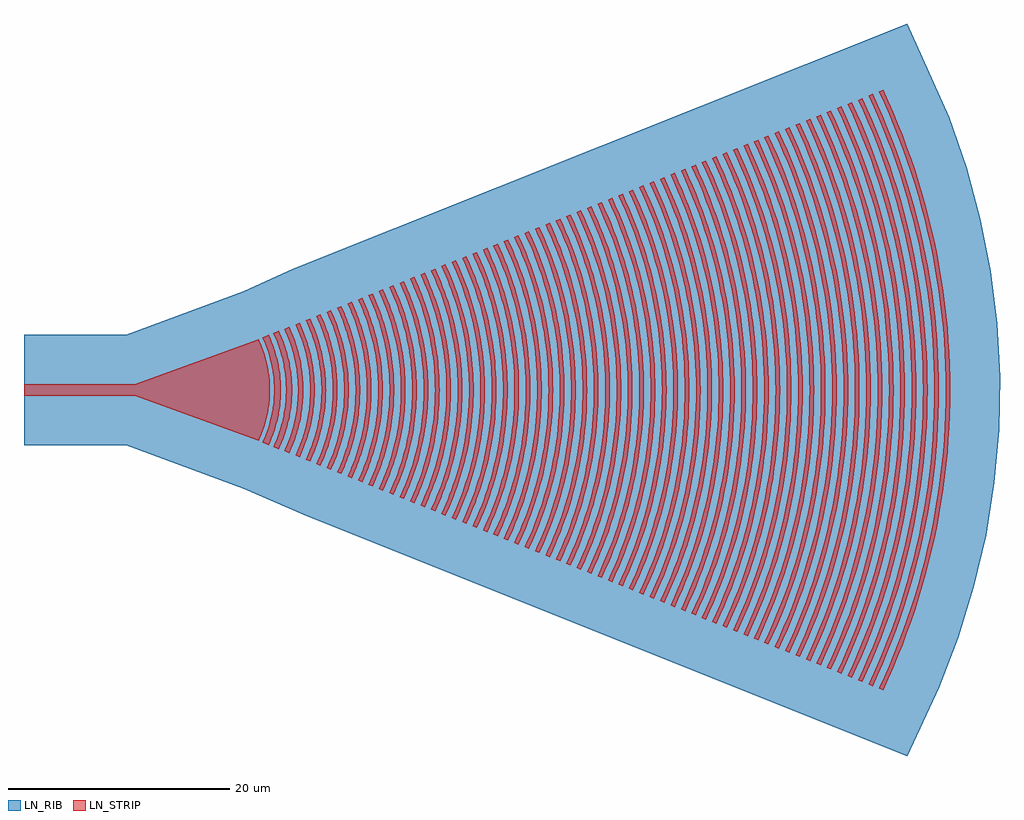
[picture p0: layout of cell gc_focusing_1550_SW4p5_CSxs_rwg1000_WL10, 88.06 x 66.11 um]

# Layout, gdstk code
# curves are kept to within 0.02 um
import gdstk
lib = gdstk.Library(unit=1e-6, precision=1e-09)
def P(c, l, *ps):  # polygons
    for p in ps: c.add(gdstk.Polygon(p, *l))
LN_STRIP = (2, 0)
LN_RIB = (3, 0)

gc_focusing_1550_sw4p5_c = lib.new_cell('gc_focusing_1550_SW4p5_CSxs_rwg1000_WL10')
P(gc_focusing_1550_sw4p5_c, LN_STRIP, [(11.472,-4.596),(0.307,-0.5),(-9.693,-0.5),(-9.693,0.5),(0.307,0.5),(11.472,4.596),(11.902,3.541),(12.219,2.447),(12.44,1.137),(12.5,0),(12.44,-1.137),(12.219,-2.447),(11.902,-3.541)],
  [(12.38,-4.977),(11.822,-4.721),(12.2,-3.818),(12.544,-2.701),(12.74,-1.747),(12.852,-0.779),(12.879,0),(12.863,0.584),(12.818,1.167),(12.708,1.938),(12.59,2.511),(12.387,3.264),(12.131,4.001),(11.822,4.721),(12.38,4.977),(12.845,3.835),(13.188,2.651),(13.405,1.436),(13.477,0.616),(13.493,0),(13.477,-0.616),(13.405,-1.436),(13.188,-2.651),(12.845,-3.835)],
  [(13.302,-5.339),(12.806,-5.113),(13.285,-3.936),(13.637,-2.72),(13.8,-1.89),(13.884,-1.264),(13.95,0),(13.884,1.264),(13.8,1.89),(13.637,2.72),(13.285,3.936),(12.806,5.113),(13.302,5.339),(13.801,4.116),(14.169,2.844),(14.401,1.541),(14.479,0.661),(14.496,0),(14.479,-0.661),(14.401,-1.541),(14.169,-2.844),(13.801,-4.116)],
  [(14.233,-5.7),(13.799,-5.5),(14.316,-4.236),(14.523,-3.586),(14.745,-2.705),(14.96,-1.36),(15.031,0),(14.96,1.36),(14.745,2.705),(14.523,3.586),(14.316,4.236),(13.799,5.5),(14.233,5.7),(14.517,5.054),(14.842,4.17),(15.211,2.805),(15.434,1.41),(15.509,0),(15.434,-1.41),(15.211,-2.805),(14.842,-4.17),(14.517,-5.054)],
  [(15.174,-6.07),(14.806,-5.9),(15.36,-4.545),(15.767,-3.14),(15.914,-2.424),(16.051,-1.459),(16.128,0),(16.051,1.459),(15.914,2.424),(15.767,3.14),(15.36,4.545),(14.806,5.9),(15.174,6.07),(15.742,4.677),(16.038,3.718),(16.216,2.987),(16.453,1.501),(16.534,0),(16.453,-1.501),(16.216,-2.987),(16.038,-3.718),(15.742,-4.677)],
  [(16.114,-6.445),(15.746,-6.275),(16.061,-5.561),(16.335,-4.834),(16.571,-4.092),(16.768,-3.339),(16.925,-2.578),(17.07,-1.551),(17.132,-0.777),(17.152,0),(17.132,0.777),(17.07,1.551),(16.925,2.578),(16.768,3.339),(16.571,4.092),(16.335,4.834),(16.061,5.561),(15.746,6.275),(16.114,6.445),(16.435,5.715),(16.717,4.966),(16.961,4.204),(17.162,3.431),(17.323,2.648),(17.442,1.859),(17.536,0.799),(17.558,0),(17.536,-0.799),(17.442,-1.859),(17.323,-2.648),(17.162,-3.431),(16.961,-4.204),(16.717,-4.966),(16.435,-5.715)],
  [(17.054,-6.821),(16.686,-6.651),(17.018,-5.894),(17.31,-5.122),(17.56,-4.337),(17.769,-3.539),(17.935,-2.733),(18.089,-1.645),(18.154,-0.823),(18.176,0),(18.154,0.823),(18.089,1.645),(17.935,2.733),(17.769,3.539),(17.56,4.337),(17.31,5.122),(17.018,5.894),(16.686,6.651),(17.054,6.821),(17.498,5.785),(17.783,4.988),(18.026,4.178),(18.225,3.357),(18.38,2.525),(18.491,1.687),(18.558,0.845),(18.582,0),(18.558,-0.845),(18.491,-1.687),(18.38,-2.525),(18.225,-3.357),(18.026,-4.178),(17.783,-4.988),(17.498,-5.785)],
  [(17.994,-7.196),(17.626,-7.026),(17.978,-6.226),(18.286,-5.412),(18.549,-4.582),(18.77,-3.739),(18.945,-2.886),(19.075,-2.026),(19.177,-0.87),(19.2,0),(19.177,0.87),(19.075,2.026),(18.945,2.886),(18.77,3.739),(18.549,4.582),(18.286,5.412),(17.978,6.226),(17.626,7.026),(17.994,7.196),(18.352,6.38),(18.668,5.544),(18.939,4.694),(19.164,3.831),(19.343,2.958),(19.477,2.076),(19.563,1.188),(19.606,0),(19.563,-1.188),(19.477,-2.076),(19.343,-2.958),(19.164,-3.831),(18.939,-4.694),(18.668,-5.544),(18.352,-6.38)],
  [(18.934,-7.571),(18.566,-7.401),(18.937,-6.559),(19.261,-5.7),(19.538,-4.827),(19.771,-3.939),(19.956,-3.041),(20.127,-1.831),(20.2,-0.916),(20.224,0),(20.2,0.916),(20.127,1.831),(19.956,3.041),(19.771,3.939),(19.538,4.827),(19.261,5.7),(18.937,6.559),(18.566,7.401),(18.934,7.571),(19.311,6.713),(19.643,5.834),(19.928,4.939),(20.165,4.031),(20.354,3.111),(20.494,2.184),(20.585,1.25),(20.63,0),(20.585,-1.25),(20.494,-2.184),(20.354,-3.111),(20.165,-4.031),(19.928,-4.939),(19.643,-5.834),(19.311,-6.713)],
  [(19.874,-7.946),(19.506,-7.776),(19.894,-6.892),(20.236,-5.989),(20.528,-5.071),(20.772,-4.138),(20.966,-3.194),(21.147,-1.922),(21.223,-0.963),(21.247,0),(21.223,0.963),(21.147,1.922),(20.966,3.194),(20.772,4.138),(20.528,5.071),(20.236,5.989),(19.894,6.892),(19.506,7.776),(19.874,7.946),(20.27,7.044),(20.618,6.123),(20.918,5.183),(21.238,3.909),(21.419,2.942),(21.549,1.966),(21.627,0.985),(21.653,0),(21.627,-0.985),(21.549,-1.966),(21.419,-2.942),(21.238,-3.909),(20.918,-5.183),(20.618,-6.123),(20.27,-7.044)],
  [(20.814,-8.321),(20.446,-8.153),(20.854,-7.224),(21.211,-6.278),(21.518,-5.316),(21.773,-4.338),(21.976,-3.349),(22.166,-2.016),(22.246,-1.009),(22.272,0),(22.246,1.009),(22.166,2.016),(21.976,3.349),(21.773,4.338),(21.518,5.316),(21.211,6.278),(20.854,7.224),(20.446,8.153),(20.814,8.321),(21.228,7.378),(21.593,6.412),(21.906,5.428),(22.167,4.43),(22.374,3.419),(22.529,2.4),(22.629,1.374),(22.678,0),(22.629,-1.374),(22.529,-2.4),(22.374,-3.419),(22.167,-4.43),(21.906,-5.428),(21.593,-6.412),(21.228,-7.378)],
  [(21.754,-8.697),(21.386,-8.527),(21.813,-7.557),(22.299,-6.234),(22.602,-5.221),(22.851,-4.195),(23.045,-3.156),(23.185,-2.109),(23.268,-1.055),(23.296,0),(23.268,1.055),(23.185,2.109),(23.045,3.156),(22.851,4.195),(22.602,5.221),(22.299,6.234),(21.813,7.557),(21.386,8.527),(21.754,8.697),(22.187,7.711),(22.568,6.701),(22.896,5.673),(23.247,4.279),(23.445,3.22),(23.587,2.151),(23.672,1.077),(23.702,0),(23.672,-1.077),(23.587,-2.151),(23.445,-3.22),(23.247,-4.279),(22.896,-5.673),(22.568,-6.701),(22.187,-7.711)],
  [(22.694,-9.072),(22.326,-8.902),(22.771,-7.889),(23.161,-6.857),(23.496,-5.806),(23.775,-4.738),(23.997,-3.658),(24.204,-2.201),(24.291,-1.102),(24.32,0),(24.291,1.102),(24.204,2.201),(23.997,3.658),(23.775,4.738),(23.496,5.806),(23.161,6.857),(22.771,7.889),(22.326,8.902),(22.694,9.072),(23.285,7.694),(23.663,6.634),(23.986,5.557),(24.251,4.464),(24.458,3.359),(24.606,2.245),(24.695,1.124),(24.726,0),(24.695,-1.124),(24.606,-2.245),(24.458,-3.359),(24.251,-4.464),(23.986,-5.557),(23.663,-6.634),(23.285,-7.694)],
  [(23.634,-9.448),(23.266,-9.278),(23.729,-8.223),(24.136,-7.147),(24.485,-6.05),(24.776,-4.937),(25.008,-3.811),(25.223,-2.295),(25.314,-1.148),(25.344,0),(25.314,1.148),(25.223,2.295),(25.008,3.811),(24.776,4.937),(24.485,6.05),(24.136,7.147),(23.729,8.223),(23.266,9.278),(23.634,9.448),(24.105,8.375),(24.518,7.279),(24.875,6.162),(25.17,5.029),(25.406,3.883),(25.581,2.725),(25.694,1.559),(25.75,0),(25.694,-1.559),(25.581,-2.725),(25.406,-3.883),(25.17,-5.029),(24.875,-6.162),(24.518,-7.279),(24.105,-8.375)],
  [(24.574,-9.822),(24.206,-9.654),(24.689,-8.555),(25.111,-7.436),(25.474,-6.295),(25.777,-5.137),(26.018,-3.966),(26.242,-2.388),(26.337,-1.195),(26.368,0),(26.337,1.195),(26.242,2.388),(26.018,3.966),(25.777,5.137),(25.474,6.295),(25.111,7.436),(24.689,8.555),(24.206,9.654),(24.574,9.822),(25.063,8.709),(25.493,7.568),(25.864,6.407),(26.26,4.834),(26.484,3.637),(26.644,2.43),(26.741,1.217),(26.774,0),(26.741,-1.217),(26.644,-2.43),(26.484,-3.637),(26.26,-4.834),(25.864,-6.407),(25.493,-7.568),(25.063,-8.709)],
  [(25.514,-10.198),(25.146,-10.028),(25.647,-8.887),(26.087,-7.725),(26.464,-6.54),(26.778,-5.337),(27.097,-3.711),(27.261,-2.479),(27.359,-1.241),(27.392,0),(27.359,1.241),(27.261,2.479),(27.097,3.711),(26.778,5.337),(26.464,6.54),(26.087,7.725),(25.647,8.887),(25.146,10.028),(25.514,10.198),(26.021,9.041),(26.469,7.857),(26.852,6.652),(27.172,5.429),(27.426,4.191),(27.615,2.941),(27.738,1.683),(27.798,0),(27.738,-1.683),(27.615,-2.941),(27.426,-4.191),(27.172,-5.429),(26.852,-6.652),(26.469,-7.857),(26.021,-9.041)],
  [(26.454,-10.573),(26.086,-10.403),(26.605,-9.221),(27.2,-7.606),(27.678,-5.954),(28.039,-4.274),(28.175,-3.425),(28.321,-2.145),(28.382,-1.288),(28.416,0),(28.401,0.859),(28.321,2.145),(28.175,3.425),(28.039,4.274),(27.678,5.954),(27.2,7.606),(26.605,9.221),(26.086,10.403),(26.454,10.573),(26.981,9.373),(27.444,8.147),(27.842,6.897),(28.269,5.202),(28.51,3.914),(28.682,2.615),(28.786,1.31),(28.822,0),(28.786,-1.31),(28.682,-2.615),(28.51,-3.914),(28.269,-5.202),(27.842,-6.897),(27.444,-8.147),(26.981,-9.373)],
  [(27.394,-10.949),(27.026,-10.779),(27.565,-9.552),(28.18,-7.88),(28.675,-6.17),(29.049,-4.428),(29.19,-3.55),(29.342,-2.222),(29.425,-0.89),(29.44,0),(29.425,0.89),(29.342,2.222),(29.19,3.55),(29.049,4.428),(28.675,6.17),(28.18,7.88),(27.565,9.552),(27.026,10.779),(27.394,10.949),(27.939,9.706),(28.419,8.435),(28.832,7.141),(29.174,5.829),(29.447,4.5),(29.65,3.158),(29.809,1.356),(29.846,0),(29.809,-1.356),(29.65,-3.158),(29.447,-4.5),(29.174,-5.829),(28.832,-7.141),(28.419,-8.435),(27.939,-9.706)],
  [(28.334,-11.324),(27.966,-11.154),(28.693,-9.457),(29.16,-8.155),(29.673,-6.385),(29.974,-5.035),(30.136,-4.128),(30.318,-2.759),(30.428,-1.381),(30.464,0),(30.428,1.381),(30.318,2.759),(30.136,4.128),(29.974,5.035),(29.673,6.385),(29.16,8.155),(28.693,9.457),(27.966,11.154),(28.334,11.324),(28.898,10.038),(29.394,8.725),(29.821,7.386),(30.175,6.028),(30.457,4.654),(30.667,3.266),(30.832,1.403),(30.87,0),(30.832,-1.403),(30.667,-3.266),(30.457,-4.654),(30.175,-6.028),(29.821,-7.386),(29.394,-8.725),(28.898,-10.038)],
  [(29.274,-11.699),(28.906,-11.529),(29.658,-9.776),(30.14,-8.429),(30.67,-6.599),(31.07,-4.736),(31.283,-3.324),(31.383,-2.377),(31.472,-0.952),(31.488,0),(31.472,0.952),(31.383,2.377),(31.283,3.324),(31.07,4.736),(30.67,6.599),(30.14,8.429),(29.658,9.776),(28.906,11.529),(29.274,11.699),(29.856,10.372),(30.369,9.014),(30.81,7.631),(31.282,5.756),(31.549,4.331),(31.739,2.894),(31.854,1.449),(31.894,0),(31.854,-1.449),(31.739,-2.894),(31.549,-4.331),(31.282,-5.756),(30.81,-7.631),(30.369,-9.014),(29.856,-10.372)],
  [(30.214,-12.074),(29.846,-11.906),(30.441,-10.55),(31.12,-8.704),(31.543,-7.29),(31.989,-5.374),(32.162,-4.406),(32.357,-2.944),(32.473,-1.474),(32.512,0),(32.473,1.474),(32.357,2.944),(32.162,4.406),(31.989,5.374),(31.543,7.29),(31.12,8.704),(30.441,10.55),(29.846,11.906),(30.214,12.074),(30.815,10.704),(31.344,9.303),(31.798,7.876),(32.177,6.428),(32.478,4.962),(32.702,3.482),(32.847,1.993),(32.918,0),(32.847,-1.993),(32.702,-3.482),(32.478,-4.962),(32.177,-6.428),(31.798,-7.876),(31.344,-9.303),(30.815,-10.704)],
  [(31.154,-12.449),(30.786,-12.281),(31.587,-10.412),(32.1,-8.978),(32.665,-7.028),(32.997,-5.544),(33.175,-4.545),(33.376,-3.037),(33.496,-1.52),(33.536,0),(33.496,1.52),(33.376,3.037),(33.175,4.545),(32.997,5.544),(32.665,7.028),(32.1,8.978),(31.587,10.412),(30.786,12.281),(31.154,12.449),(31.965,10.558),(32.484,9.104),(32.926,7.625),(33.291,6.126),(33.575,4.609),(33.778,3.079),(33.9,1.542),(33.942,0),(33.9,-1.542),(33.778,-3.079),(33.575,-4.609),(33.291,-6.126),(32.926,-7.625),(32.484,-9.104),(31.965,-10.558)],
  [(32.093,-12.825),(31.725,-12.655),(32.551,-10.73),(33.08,-9.253),(33.662,-7.244),(34.004,-5.713),(34.188,-4.684),(34.395,-3.13),(34.519,-1.567),(34.56,0),(34.519,1.567),(34.395,3.13),(34.188,4.684),(34.004,5.713),(33.662,7.244),(33.08,9.253),(32.551,10.73),(31.725,12.655),(32.093,12.825),(32.733,11.369),(33.464,9.379),(33.92,7.855),(34.295,6.311),(34.588,4.748),(34.797,3.172),(34.923,1.589),(34.966,0),(34.923,-1.589),(34.797,-3.172),(34.588,-4.748),(34.295,-6.311),(33.92,-7.855),(33.464,-9.379),(32.733,-11.369)],
  [(33.033,-13.2),(32.665,-13.03),(33.316,-11.549),(34.06,-9.527),(34.523,-7.979),(35.012,-5.882),(35.201,-4.823),(35.414,-3.223),(35.542,-1.613),(35.584,0),(35.542,1.613),(35.414,3.223),(35.201,4.823),(35.012,5.882),(34.523,7.979),(34.06,9.527),(33.316,11.549),(32.665,13.03),(33.033,13.2),(33.692,11.701),(34.27,10.171),(34.767,8.61),(35.18,7.027),(35.509,5.425),(35.754,3.807),(35.946,1.635),(35.99,0),(35.946,-1.635),(35.754,-3.807),(35.509,-5.425),(35.18,-7.027),(34.767,-8.61),(34.27,-10.171),(33.692,-11.701)],
  [(33.973,-13.576),(33.605,-13.406),(34.276,-11.881),(35.04,-9.801),(35.657,-7.674),(36.019,-6.052),(36.214,-4.962),(36.433,-3.316),(36.564,-1.66),(36.608,0),(36.564,1.66),(36.433,3.316),(36.214,4.962),(36.019,6.052),(35.657,7.674),(35.04,9.801),(34.276,11.881),(33.605,13.406),(33.973,13.576),(34.65,12.035),(35.245,10.459),(35.756,8.855),(36.304,6.68),(36.614,5.026),(36.835,3.358),(36.968,1.682),(37.014,0),(36.968,-1.682),(36.835,-3.358),(36.614,-5.026),(36.304,-6.68),(35.756,-8.855),(35.245,-10.459),(34.65,-12.035)],
  [(34.913,-13.951),(34.545,-13.781),(35.014,-12.74),(35.444,-11.685),(36.02,-10.076),(36.654,-7.888),(37.027,-6.221),(37.226,-5.101),(37.452,-3.409),(37.587,-1.706),(37.632,0),(37.587,1.706),(37.452,3.409),(37.226,5.101),(37.027,6.221),(36.654,7.888),(36.02,10.076),(35.444,11.685),(35.014,12.74),(34.545,13.781),(34.913,13.951),(35.609,12.367),(36.22,10.748),(36.746,9.1),(37.308,6.865),(37.626,5.165),(37.854,3.451),(37.991,1.728),(38.038,0),(37.991,-1.728),(37.854,-3.451),(37.626,-5.165),(37.308,-6.865),(36.746,-9.1),(36.22,-10.748),(35.609,-12.367)],
  [(35.853,-14.326),(35.485,-14.156),(35.967,-13.087),(36.409,-12.003),(37.001,-10.35),(37.504,-8.669),(37.789,-7.534),(38.034,-6.391),(38.327,-4.661),(38.471,-3.501),(38.61,-1.753),(38.656,0),(38.61,1.753),(38.471,3.501),(38.327,4.661),(38.034,6.391),(37.789,7.534),(37.504,8.669),(37.001,10.35),(36.409,12.003),(35.967,13.087),(35.485,14.156),(35.853,14.326),(36.339,13.247),(36.787,12.149),(37.385,10.476),(37.894,8.775),(38.313,7.049),(38.639,5.303),(38.873,3.543),(39.014,1.775),(39.062,0),(39.014,-1.775),(38.873,-3.543),(38.639,-5.303),(38.313,-7.049),(37.894,-8.775),(37.385,-10.476),(36.787,-12.149),(36.339,-13.247)],
  [(36.793,-14.702),(36.425,-14.532),(37.151,-12.879),(37.586,-11.759),(37.981,-10.625),(38.649,-8.318),(39.042,-6.56),(39.343,-4.784),(39.49,-3.594),(39.633,-1.799),(39.68,0),(39.633,1.799),(39.49,3.594),(39.343,4.784),(39.042,6.56),(38.649,8.318),(37.981,10.625),(37.586,11.759),(37.151,12.879),(36.425,14.532),(36.793,14.702),(37.527,13.033),(37.966,11.899),(38.365,10.751),(38.887,9.004),(39.317,7.234),(39.652,5.442),(39.892,3.636),(40.037,1.821),(40.086,0),(40.037,-1.821),(39.892,-3.636),(39.652,-5.442),(39.317,-7.234),(38.887,-9.004),(38.365,-10.751),(37.966,-11.899),(37.527,-13.033)],
  [(37.733,-15.077),(37.365,-14.907),(38.109,-13.213),(38.555,-12.063),(38.961,-10.899),(39.491,-9.128),(39.791,-7.934),(40.049,-6.73),(40.357,-4.909),(40.509,-3.687),(40.655,-1.846),(40.704,0),(40.655,1.846),(40.509,3.687),(40.357,4.909),(40.049,6.73),(39.791,7.934),(39.491,9.128),(38.961,10.899),(38.555,12.063),(38.109,13.213),(37.365,14.907),(37.733,15.077),(38.485,13.365),(39.145,11.616),(39.712,9.834),(40.185,8.026),(40.561,6.195),(40.84,4.348),(41.021,2.489),(41.087,1.245),(41.11,0),(41.087,-1.245),(41.021,-2.489),(40.84,-4.348),(40.561,-6.195),(40.185,-8.026),(39.712,-9.834),(39.145,-11.616),(38.485,-13.365)],
  [(38.673,-15.452),(38.305,-15.282),(38.825,-14.128),(39.302,-12.958),(39.941,-11.173),(40.313,-9.967),(40.643,-8.748),(41.057,-6.899),(41.373,-5.032),(41.528,-3.78),(41.678,-1.892),(41.728,0),(41.678,1.892),(41.528,3.78),(41.373,5.032),(41.057,6.899),(40.643,8.748),(40.313,9.967),(39.941,11.173),(39.302,12.958),(38.825,14.128),(38.305,15.282),(38.673,15.452),(39.197,14.288),(39.68,13.104),(40.325,11.299),(40.875,9.464),(41.326,7.603),(41.678,5.72),(41.93,3.822),(42.082,1.914),(42.134,0),(42.082,-1.914),(41.93,-3.822),(41.678,-5.72),(41.326,-7.603),(40.875,-9.464),(40.325,-11.299),(39.68,-13.104),(39.197,-14.288)],
  [(39.613,-15.827),(39.245,-15.657),(40.027,-13.878),(40.495,-12.67),(40.921,-11.448),(41.302,-10.211),(41.641,-8.962),(42.064,-7.069),(42.388,-5.155),(42.547,-3.873),(42.701,-1.938),(42.752,0),(42.701,1.938),(42.547,3.873),(42.388,5.155),(42.064,7.069),(41.641,8.962),(41.302,10.211),(40.921,11.448),(40.495,12.67),(40.027,13.878),(39.245,15.657),(39.613,15.827),(40.403,14.03),(41.096,12.194),(41.692,10.323),(42.033,9.06),(42.33,7.788),(42.691,5.859),(42.949,3.915),(43.105,1.96),(43.158,0),(43.105,-1.96),(42.949,-3.915),(42.691,-5.859),(42.33,-7.788),(42.033,-9.06),(41.692,-10.323),(41.096,-12.194),(40.403,-14.03)],
  [(40.553,-16.203),(40.185,-16.033),(40.986,-14.21),(41.465,-12.974),(41.901,-11.722),(42.471,-9.818),(42.794,-8.533),(43.072,-7.238),(43.403,-5.28),(43.566,-3.965),(43.724,-1.985),(43.776,0),(43.724,1.985),(43.566,3.965),(43.403,5.28),(43.072,7.238),(42.794,8.533),(42.471,9.818),(41.901,11.722),(41.465,12.974),(40.986,14.21),(40.185,16.033),(40.553,16.203),(41.36,14.364),(42.071,12.483),(42.488,11.21),(42.861,9.924),(43.335,7.972),(43.704,5.998),(43.968,4.007),(44.128,2.007),(44.182,0),(44.128,-2.007),(43.968,-4.007),(43.704,-5.998),(43.335,-7.972),(42.861,-9.924),(42.488,-11.21),(42.071,-12.483),(41.36,-14.364)],
  [(41.493,-16.578),(41.125,-16.408),(41.683,-15.169),(42.195,-13.913),(42.881,-11.997),(43.28,-10.701),(43.636,-9.392),(44.079,-7.407),(44.419,-5.402),(44.586,-4.058),(44.746,-2.031),(44.8,0),(44.746,2.031),(44.586,4.058),(44.419,5.402),(44.079,7.407),(43.636,9.392),(43.28,10.701),(42.881,11.997),(42.195,13.913),(41.683,15.169),(41.125,16.408),(41.493,16.578),(42.32,14.695),(43.046,12.772),(43.67,10.813),(44.028,9.49),(44.339,8.156),(44.717,6.137),(44.988,4.1),(45.15,2.053),(45.206,0),(45.15,-2.053),(44.988,-4.1),(44.717,-6.137),(44.339,-8.156),(44.028,-9.49),(43.67,-10.813),(43.046,-12.772),(42.32,-14.695)],
  [(42.433,-16.953),(42.065,-16.783),(42.904,-14.875),(43.405,-13.581),(43.861,-12.271),(44.27,-10.946),(44.633,-9.607),(45.087,-7.577),(45.434,-5.527),(45.605,-4.151),(45.769,-2.078),(45.824,0),(45.769,2.078),(45.605,4.151),(45.434,5.527),(45.087,7.577),(44.633,9.607),(44.27,10.946),(43.861,12.271),(43.405,13.581),(42.904,14.875),(42.065,16.783),(42.433,16.953),(43.278,15.029),(44.021,13.062),(44.66,11.058),(45.025,9.705),(45.343,8.342),(45.73,6.276),(46.007,4.193),(46.173,2.1),(46.23,0),(46.173,-2.1),(46.007,-4.193),(45.73,-6.276),(45.343,-8.342),(45.025,-9.705),(44.66,-11.058),(44.021,-13.062),(43.278,-15.029)],
  [(43.373,-17.329),(43.005,-17.159),(43.862,-15.208),(44.375,-13.885),(44.841,-12.545),(45.259,-11.19),(45.63,-9.822),(46.094,-7.746),(46.343,-6.351),(46.624,-4.244),(46.792,-2.124),(46.848,0),(46.792,2.124),(46.624,4.244),(46.343,6.351),(46.094,7.746),(45.63,9.822),(45.259,11.19),(44.841,12.545),(44.375,13.885),(43.862,15.208),(43.005,17.159),(43.373,17.329),(44.236,15.362),(44.996,13.35),(45.649,11.302),(46.022,9.92),(46.348,8.525),(46.743,6.415),(47.026,4.286),(47.196,2.146),(47.254,0),(47.196,-2.146),(47.026,-4.286),(46.743,-6.415),(46.348,-8.525),(46.022,-9.92),(45.649,-11.302),(44.996,-13.35),(44.236,-15.362)],
  [(44.313,-17.704),(43.945,-17.534),(44.82,-15.541),(45.345,-14.189),(45.821,-12.82),(46.249,-11.435),(46.628,-10.037),(47.102,-7.916),(47.465,-5.773),(47.643,-4.337),(47.815,-2.171),(47.872,0),(47.815,2.171),(47.643,4.337),(47.465,5.773),(47.102,7.916),(46.628,10.037),(46.249,11.435),(45.821,12.82),(45.345,14.189),(44.82,15.541),(43.945,17.534),(44.313,17.704),(45.196,15.693),(45.971,13.639),(46.427,12.249),(46.835,10.843),(47.352,8.711),(47.756,6.554),(48.045,4.379),(48.219,2.193),(48.278,0),(48.219,-2.193),(48.045,-4.379),(47.756,-6.554),(47.352,-8.711),(46.835,-10.843),(46.427,-12.249),(45.971,-13.639),(45.196,-15.693)],
  [(45.253,-18.079),(44.885,-17.909),(45.78,-15.873),(46.315,-14.492),(46.801,-13.094),(47.238,-11.68),(47.625,-10.251),(48.109,-8.085),(48.48,-5.898),(48.662,-4.43),(48.838,-2.217),(48.896,0),(48.838,2.217),(48.662,4.43),(48.48,5.898),(48.109,8.085),(47.625,10.251),(47.238,11.68),(46.801,13.094),(46.315,14.492),(45.78,15.873),(44.885,17.909),(45.253,18.079),(46.154,16.027),(46.946,13.928),(47.412,12.508),(47.828,11.073),(48.357,8.894),(48.769,6.693),(49.064,4.472),(49.242,2.239),(49.302,0),(49.242,-2.239),(49.064,-4.472),(48.769,-6.693),(48.357,-8.894),(47.828,-11.073),(47.412,-12.508),(46.946,-13.928),(46.154,-16.027)],
  [(46.193,-18.454),(45.825,-18.284),(46.738,-16.206),(47.285,-14.796),(47.782,-13.369),(48.227,-11.925),(48.622,-10.466),(49.117,-8.255),(49.382,-6.768),(49.681,-4.522),(49.86,-2.264),(49.92,0),(49.86,2.264),(49.681,4.522),(49.382,6.768),(49.117,8.255),(48.622,10.466),(48.227,11.925),(47.782,13.369),(47.285,14.796),(46.738,16.206),(45.825,18.284),(46.193,18.454),(46.818,17.063),(47.395,15.65),(48.166,13.495),(48.821,11.303),(49.361,9.08),(49.782,6.832),(50.083,4.564),(50.264,2.286),(50.326,0),(50.264,-2.286),(50.083,-4.564),(49.782,-6.832),(49.361,-9.08),(48.821,-11.303),(48.166,-13.495),(47.395,-15.65),(46.818,-17.063)],
  [(47.133,-18.83),(46.765,-18.66),(47.697,-16.538),(48.255,-15.1),(48.762,-13.643),(49.216,-12.17),(49.62,-10.681),(50.124,-8.424),(50.395,-6.906),(50.7,-4.615),(50.883,-2.31),(50.944,0),(50.883,2.31),(50.7,4.615),(50.395,6.906),(50.124,8.424),(49.62,10.681),(49.216,12.17),(48.762,13.643),(48.255,15.1),(47.697,16.538),(46.765,18.66),(47.133,18.83),(48.071,16.692),(48.897,14.507),(49.606,12.282),(50.012,10.779),(50.365,9.265),(50.795,6.97),(51.102,4.657),(51.287,2.332),(51.35,0),(51.287,-2.332),(51.102,-4.657),(50.795,-6.97),(50.365,-9.265),(50.012,-10.779),(49.606,-12.282),(48.897,-14.507),(48.071,-16.692)],
  [(48.073,-19.205),(47.705,-19.035),(48.655,-16.872),(49.224,-15.404),(49.742,-13.917),(50.205,-12.414),(50.617,-10.896),(51.132,-8.594),(51.526,-6.268),(51.719,-4.708),(51.906,-2.357),(51.968,0),(51.906,2.357),(51.719,4.708),(51.526,6.268),(51.132,8.594),(50.617,10.896),(50.205,12.414),(49.742,13.917),(49.224,15.404),(48.655,16.872),(47.705,19.035),(48.073,19.205),(49.031,17.024),(49.872,14.796),(50.595,12.526),(51.009,10.994),(51.37,9.449),(51.808,7.109),(52.121,4.75),(52.31,2.379),(52.374,0),(52.31,-2.379),(52.121,-4.75),(51.808,-7.109),(51.37,-9.449),(51.009,-10.994),(50.595,-12.526),(49.872,-14.796),(49.031,-17.024)],
  [(49.013,-19.58),(48.645,-19.41),(49.304,-17.944),(49.911,-16.458),(50.722,-14.192),(51.412,-11.886),(51.803,-10.331),(52.139,-8.763),(52.421,-7.184),(52.738,-4.801),(52.929,-2.403),(52.992,0),(52.929,2.403),(52.738,4.801),(52.421,7.184),(52.139,8.763),(51.803,10.331),(51.412,11.886),(50.722,14.192),(49.911,16.458),(49.304,17.944),(48.645,19.41),(49.013,19.58),(49.988,17.357),(50.847,15.085),(51.352,13.547),(51.802,11.992),(52.374,9.633),(52.821,7.248),(53.14,4.843),(53.333,2.425),(53.398,0),(53.333,-2.425),(53.14,-4.843),(52.821,-7.248),(52.374,-9.633),(51.802,-11.992),(51.352,-13.547),(50.847,-15.085),(49.988,-17.357)],
  [(49.953,-19.955),(49.585,-19.785),(50.573,-17.536),(51.164,-16.011),(51.702,-14.466),(52.184,-12.904),(52.612,-11.326),(53.147,-8.932),(53.434,-7.323),(53.757,-4.894),(53.951,-2.45),(54.016,0),(53.951,2.45),(53.757,4.894),(53.434,7.323),(53.147,8.932),(52.612,11.326),(52.184,12.904),(51.702,14.466),(51.164,16.011),(50.573,17.536),(49.585,19.785),(49.953,19.955),(50.947,17.69),(51.822,15.374),(52.574,13.016),(53.004,11.424),(53.379,9.819),(53.834,7.387),(54.159,4.936),(54.355,2.472),(54.422,0),(54.355,-2.472),(54.159,-4.936),(53.834,-7.387),(53.379,-9.819),(53.004,-11.424),(52.574,-13.016),(51.822,-15.374),(50.947,-17.69)],
  [(50.893,-20.331),(50.525,-20.161),(51.531,-17.87),(52.134,-16.315),(52.682,-14.741),(53.399,-12.346),(53.805,-10.73),(54.154,-9.102),(54.572,-6.639),(54.776,-4.986),(54.974,-2.496),(55.04,0),(54.974,2.496),(54.776,4.986),(54.572,6.639),(54.154,9.102),(53.805,10.73),(53.399,12.346),(52.682,14.741),(52.134,16.315),(51.531,17.87),(50.525,20.161),(50.893,20.331),(51.907,18.022),(52.797,15.664),(53.321,14.066),(53.789,12.452),(54.383,10.003),(54.847,7.526),(55.178,5.028),(55.378,2.518),(55.446,0),(55.378,-2.518),(55.178,-5.028),(54.847,-7.526),(54.383,-10.003),(53.789,-12.452),(53.321,-14.066),(52.797,-15.664),(51.907,-18.022)],
  [(51.833,-20.706),(51.465,-20.536),(52.491,-18.201),(53.104,-16.618),(53.662,-15.015),(54.392,-12.576),(54.806,-10.93),(55.162,-9.271),(55.46,-7.601),(55.795,-5.079),(55.997,-2.543),(56.064,0),(55.997,2.543),(55.795,5.079),(55.46,7.601),(55.162,9.271),(54.806,10.93),(54.392,12.576),(53.662,15.015),(53.104,16.618),(52.491,18.201),(51.465,20.536),(51.833,20.706),(52.865,18.355),(53.772,15.953),(54.552,13.505),(54.998,11.853),(55.387,10.188),(55.86,7.665),(56.197,5.121),(56.401,2.565),(56.47,0),(56.401,-2.565),(56.197,-5.121),(55.86,-7.665),(55.387,-10.188),(54.998,-11.853),(54.552,-13.505),(53.772,-15.953),(52.865,-18.355)],
  [(52.773,-21.081),(52.405,-20.911),(53.448,-18.535),(54.365,-16.109),(54.905,-14.465),(55.385,-12.806),(55.996,-10.287),(56.473,-7.74),(56.815,-5.172),(57.02,-2.589),(57.088,0),(57.02,2.589),(56.815,5.172),(56.473,7.74),(55.996,10.287),(55.385,12.806),(54.905,14.465),(54.365,16.109),(53.448,18.535),(52.405,20.911),(52.773,21.081),(53.824,18.687),(54.747,16.241),(55.541,13.75),(55.996,12.068),(56.392,10.371),(56.873,7.804),(57.217,5.214),(57.424,2.611),(57.494,0),(57.424,-2.611),(57.217,-5.214),(56.873,-7.804),(56.392,-10.371),(55.996,-12.068),(55.541,-13.75),(54.747,-16.241),(53.824,-18.687)],
  [(53.713,-21.457),(53.345,-21.287),(54.408,-18.867),(55.044,-17.226),(55.622,-15.564),(56.142,-13.883),(56.601,-12.185),(57.177,-9.61),(57.486,-7.879),(57.834,-5.265),(58.042,-2.636),(58.112,0),(58.042,2.636),(57.834,5.265),(57.486,7.879),(57.177,9.61),(56.601,12.185),(56.142,13.883),(55.622,15.564),(55.044,17.226),(54.408,18.867),(53.345,21.287),(53.713,21.457),(54.44,19.839),(55.111,18.196),(56.006,15.69),(56.769,13.141),(57.396,10.557),(57.886,7.943),(58.236,5.307),(58.446,2.658),(58.518,0),(58.446,-2.658),(58.236,-5.307),(57.886,-7.943),(57.396,-10.557),(56.769,-13.141),(56.006,-15.69),(55.111,-18.196),(54.44,-19.839)],
  [(54.652,-21.832),(54.284,-21.662),(55.367,-19.199),(56.316,-16.687),(56.874,-14.985),(57.372,-13.265),(58.005,-10.656),(58.499,-8.018),(58.853,-5.358),(59.065,-2.682),(59.136,0),(59.065,2.682),(58.853,5.358),(58.499,8.018),(58.005,10.656),(57.372,13.265),(56.874,14.985),(56.316,16.687),(55.367,19.199),(54.284,21.662),(54.652,21.832),(55.741,19.353),(56.698,16.819),(57.52,14.24),(57.99,12.498),(58.401,10.742),(58.899,8.082),(59.255,5.4),(59.469,2.704),(59.542,0),(59.469,-2.704),(59.255,-5.4),(58.899,-8.082),(58.401,-10.742),(57.99,-12.498),(57.52,-14.24),(56.698,-16.819),(55.741,-19.353)],
  [(55.592,-22.207),(55.224,-22.037),(56.324,-19.533),(56.984,-17.833),(57.583,-16.113),(58.366,-13.495),(59.009,-10.84),(59.512,-8.157),(59.872,-5.451),(60.088,-2.729),(60.16,0),(60.088,2.729),(59.872,5.451),(59.512,8.157),(59.009,10.84),(58.366,13.495),(57.583,16.113),(56.984,17.833),(56.324,19.533),(55.224,22.037),(55.592,22.207),(56.7,19.685),(57.673,17.109),(58.509,14.484),(58.988,12.713),(59.405,10.926),(59.912,8.221),(60.274,5.493),(60.492,2.751),(60.566,0),(60.492,-2.751),(60.274,-5.493),(59.912,-8.221),(59.405,-10.926),(58.988,-12.713),(58.509,-14.484),(57.673,-17.109),(56.7,-19.685)],
  [(56.532,-22.582),(56.164,-22.412),(56.926,-20.72),(57.626,-19.004),(58.563,-16.387),(59.108,-14.617),(59.593,-12.829),(60.2,-10.118),(60.663,-7.38),(60.891,-5.543),(61.111,-2.775),(61.184,0),(61.111,2.775),(60.891,5.543),(60.663,7.38),(60.2,10.118),(59.593,12.829),(59.108,14.617),(58.563,16.387),(57.626,19.004),(56.926,20.72),(56.164,22.412),(56.532,22.582),(57.659,20.019),(58.648,17.398),(59.498,14.729),(59.985,12.927),(60.409,11.111),(60.924,8.36),(61.293,5.585),(61.515,2.797),(61.59,0),(61.515,-2.797),(61.293,-5.585),(60.924,-8.36),(60.409,-11.111),(59.985,-12.927),(59.498,-14.729),(58.648,-17.398),(57.659,-20.019)],
  [(57.472,-22.958),(57.104,-22.788),(58.243,-20.197),(58.923,-18.441),(59.543,-16.661),(60.353,-13.955),(61.018,-11.21),(61.537,-8.434),(61.91,-5.636),(62.134,-2.822),(62.208,0),(62.134,2.822),(61.91,5.636),(61.537,8.434),(61.018,11.21),(60.353,13.955),(59.543,16.661),(58.923,18.441),(58.243,20.197),(57.104,22.788),(57.472,22.958),(58.617,20.351),(59.623,17.687),(60.488,14.974),(60.983,13.142),(61.414,11.296),(61.937,8.498),(62.312,5.678),(62.538,2.844),(62.614,0),(62.538,-2.844),(62.312,-5.678),(61.937,-8.498),(61.414,-11.296),(60.983,-13.142),(60.488,-14.974),(59.623,-17.687),(58.617,-20.351)],
  [(58.412,-23.333),(58.044,-23.163),(58.831,-21.414),(59.555,-19.641),(60.523,-16.936),(61.346,-14.185),(62.022,-11.394),(62.55,-8.573),(62.929,-5.729),(63.156,-2.868),(63.232,0),(63.156,2.868),(62.929,5.729),(62.55,8.573),(62.022,11.394),(61.346,14.185),(60.523,16.936),(59.555,19.641),(58.831,21.414),(58.044,23.163),(58.412,23.333),(59.203,21.574),(59.933,19.787),(60.907,17.062),(61.736,14.291),(62.418,11.48),(62.95,8.637),(63.331,5.771),(63.56,2.89),(63.638,0),(63.56,-2.89),(63.331,-5.771),(62.95,-8.637),(62.418,-11.48),(61.736,-14.291),(60.907,-17.062),(59.933,-19.787),(59.203,-21.574)],
  [(59.352,-23.708),(58.984,-23.538),(60.159,-20.864),(60.863,-19.048),(61.503,-17.21),(62.34,-14.414),(63.027,-11.579),(63.563,-8.712),(63.948,-5.822),(64.179,-2.914),(64.256,0),(64.179,2.914),(63.948,5.822),(63.563,8.712),(63.027,11.579),(62.34,14.414),(61.503,17.21),(60.863,19.048),(60.159,20.864),(58.984,23.538),(59.352,23.708),(60.535,21.016),(61.573,18.265),(62.184,16.403),(62.73,14.52),(63.423,11.665),(63.963,8.776),(64.35,5.864),(64.583,2.936),(64.662,0),(64.583,-2.936),(64.35,-5.864),(63.963,-8.776),(63.423,-11.665),(62.73,-14.52),(62.184,-16.403),(61.573,-18.265),(60.535,-21.016)],
  [(60.292,-24.084),(59.924,-23.914),(61.119,-21.195),(61.833,-19.352),(62.483,-17.485),(63.333,-14.644),(64.031,-11.763),(64.576,-8.851),(64.967,-5.915),(65.202,-2.961),(65.28,0),(65.202,2.961),(64.967,5.915),(64.576,8.851),(64.031,11.763),(63.333,14.644),(62.483,17.485),(61.833,19.352),(61.119,21.195),(59.924,23.914),(60.292,24.084),(61.493,21.349),(62.548,18.555),(63.455,15.708),(63.975,13.787),(64.427,11.849),(64.976,8.915),(65.369,5.957),(65.606,2.983),(65.686,0),(65.606,-2.983),(65.369,-5.957),(64.976,-8.915),(64.427,-11.849),(63.975,-13.787),(63.455,-15.708),(62.548,-18.555),(61.493,-21.349)],
  [(61.232,-24.459),(60.864,-24.289),(62.077,-21.528),(63.142,-18.71),(63.768,-16.802),(64.326,-14.874),(65.035,-11.948),(65.589,-8.99),(65.986,-6.008),(66.225,-3.007),(66.304,0),(66.225,3.007),(65.986,6.008),(65.589,8.99),(65.035,11.948),(64.326,14.874),(63.768,16.802),(63.142,18.71),(62.077,21.528),(60.864,24.289),(61.232,24.459),(62.451,21.682),(63.524,18.844),(64.445,15.953),(64.972,14.002),(65.431,12.034),(65.989,9.054),(66.388,6.05),(66.629,3.029),(66.71,0),(66.629,-3.029),(66.388,-6.05),(65.989,-9.054),(65.431,-12.034),(64.972,-14.002),(64.445,-15.953),(63.524,-18.844),(62.451,-21.682)],
  [(62.172,-24.834),(61.804,-24.664),(63.035,-21.862),(64.117,-18.999),(64.753,-17.062),(65.32,-15.104),(66.04,-12.133),(66.602,-9.129),(67.005,-6.1),(67.247,-3.054),(67.328,0),(67.247,3.054),(67.005,6.1),(66.602,9.129),(66.04,12.133),(65.32,15.104),(64.753,17.062),(64.117,18.999),(63.035,21.862),(61.804,24.664),(62.172,24.834),(63.411,22.014),(64.499,19.133),(65.434,16.198),(65.969,14.216),(66.436,12.219),(67.002,9.193),(67.407,6.142),(67.651,3.076),(67.734,0),(67.651,-3.076),(67.407,-6.142),(67.002,-9.193),(66.436,-12.219),(65.969,-14.216),(65.434,-16.198),(64.499,-19.133),(63.411,-22.014)],
  [(63.112,-25.209),(62.744,-25.039),(63.994,-22.193),(65.092,-19.289),(65.738,-17.321),(66.313,-15.334),(67.044,-12.317),(67.615,-9.268),(68.025,-6.193),(68.27,-3.1),(68.352,0),(68.27,3.1),(68.025,6.193),(67.615,9.268),(67.044,12.317),(66.313,15.334),(65.738,17.321),(65.092,19.289),(63.994,22.193),(62.744,25.039),(63.112,25.209),(64.37,22.347),(65.474,19.421),(66.423,16.443),(66.967,14.431),(67.44,12.403),(68.015,9.332),(68.427,6.235),(68.674,3.122),(68.758,0),(68.674,-3.122),(68.427,-6.235),(68.015,-9.332),(67.44,-12.403),(66.967,-14.431),(66.423,-16.443),(65.474,-19.421),(64.37,-22.347)],
  [(64.052,-25.585),(63.684,-25.415),(64.953,-22.526),(66.067,-19.578),(66.722,-17.581),(67.307,-15.564),(68.049,-12.502),(68.628,-9.407),(69.044,-6.286),(69.293,-3.147),(69.376,0),(69.293,3.147),(69.044,6.286),(68.628,9.407),(68.049,12.502),(67.307,15.564),(66.722,17.581),(66.067,19.578),(64.953,22.526),(63.684,25.415),(64.052,25.585),(65.327,22.68),(66.449,19.71),(67.108,17.701),(67.697,15.67),(68.445,12.588),(69.028,9.471),(69.446,6.328),(69.697,3.169),(69.782,0),(69.697,-3.169),(69.446,-6.328),(69.028,-9.471),(68.445,-12.588),(67.697,-15.67),(67.108,-17.701),(66.449,-19.71),(65.327,-22.68)],
  [(64.992,-25.96),(64.624,-25.79),(65.912,-22.859),(66.683,-20.87),(67.384,-18.857),(68.3,-15.793),(69.053,-12.687),(69.641,-9.546),(70.063,-6.379),(70.316,-3.193),(70.4,0),(70.316,3.193),(70.063,6.379),(69.641,9.546),(69.053,12.687),(68.3,15.793),(67.384,18.857),(66.683,20.87),(65.912,22.859),(64.624,25.79),(64.992,25.96),(65.872,24.003),(66.684,22.014),(67.768,18.983),(68.69,15.899),(69.449,12.773),(70.041,9.61),(70.465,6.421),(70.72,3.215),(70.806,0),(70.72,-3.215),(70.465,-6.421),(70.041,-9.61),(69.449,-12.773),(68.69,-15.899),(67.768,-18.983),(66.684,-22.014),(65.872,-24.003)],
  [(65.932,-26.335),(65.564,-26.165),(66.87,-23.192),(67.653,-21.174),(68.364,-19.131),(69.294,-16.023),(70.057,-12.871),(70.654,-9.685),(71.082,-6.472),(71.339,-3.24),(71.424,0),(71.339,3.24),(71.082,6.472),(70.654,9.685),(70.057,12.871),(69.294,16.023),(68.364,19.131),(67.653,21.174),(66.87,23.192),(65.564,26.165),(65.932,26.335),(67.246,23.344),(68.033,21.314),(68.748,19.257),(69.684,16.129),(70.453,12.957),(71.054,9.749),(71.484,6.514),(71.743,3.262),(71.83,0),(71.743,-3.262),(71.484,-6.514),(71.054,-9.749),(70.453,-12.957),(69.684,-16.129),(68.748,-19.257),(68.033,-21.314),(67.246,-23.344)],
  [(66.872,-26.711),(66.504,-26.541),(67.405,-24.537),(68.235,-22.505),(69.344,-19.406),(70.287,-16.253),(71.062,-13.056),(71.667,-9.824),(72.101,-6.564),(72.361,-3.286),(72.41,-2.192),(72.448,0),(72.41,2.192),(72.361,3.286),(72.101,6.564),(71.667,9.824),(71.062,13.056),(70.287,16.253),(69.344,19.406),(68.235,22.505),(67.405,24.537),(66.504,26.541),(66.872,26.711),(67.777,24.697),(68.613,22.651),(69.728,19.532),(70.064,18.48),(70.677,16.359),(71.458,13.142),(72.067,9.888),(72.503,6.606),(72.765,3.308),(72.854,0),(72.765,-3.308),(72.503,-6.606),(72.067,-9.888),(71.458,-13.142),(70.677,-16.359),(70.064,-18.48),(69.728,-19.532),(68.613,-22.651),(67.777,-24.697)],
  [(67.812,-27.086),(67.444,-26.916),(68.788,-23.856),(69.592,-21.782),(70.324,-19.68),(71.28,-16.483),(72.066,-13.24),(72.495,-11.059),(72.68,-9.963),(73.12,-6.657),(73.384,-3.333),(73.463,-1.111),(73.472,0),(73.463,1.111),(73.384,3.333),(73.12,6.657),(72.68,9.963),(72.495,11.059),(72.066,13.24),(71.28,16.483),(70.324,19.68),(69.592,21.782),(68.788,23.856),(67.444,26.916),(67.812,27.086),(68.73,25.044),(69.577,22.969),(70.708,19.806),(71.049,18.74),(71.67,16.589),(72.462,13.326),(72.688,12.23),(73.08,10.027),(73.522,6.699),(73.631,5.586),(73.788,3.355),(73.878,0),(73.788,-3.355),(73.631,-5.586),(73.522,-6.699),(73.08,-10.027),(72.688,-12.23),(72.462,-13.326),(71.67,-16.589),(71.049,-18.74),(70.708,-19.806),(69.577,-22.969),(68.73,-25.044)])
P(gc_focusing_1550_sw4p5_c, LN_RIB, [(70.019,-33.055),(15.543,-11.258),(10.136,-8.899),(-0.489,-5),(-9.693,-5),(-9.693,5),(-0.489,5),(10.137,8.898),(14.603,10.949),(70.019,33.056),(73.774,24.593),(75.347,20.075),(76.598,15.444),(77.524,10.733),(78.114,5.979),(78.366,1.207),(78.282,-3.594),(77.861,-8.36),(77.104,-13.097),(76.015,-17.76),(74.597,-22.351),(72.873,-26.802)])

lib.write_gds('gc_focusing_1550_SW4p5_CSxs_rwg1000_WL10.gds')
